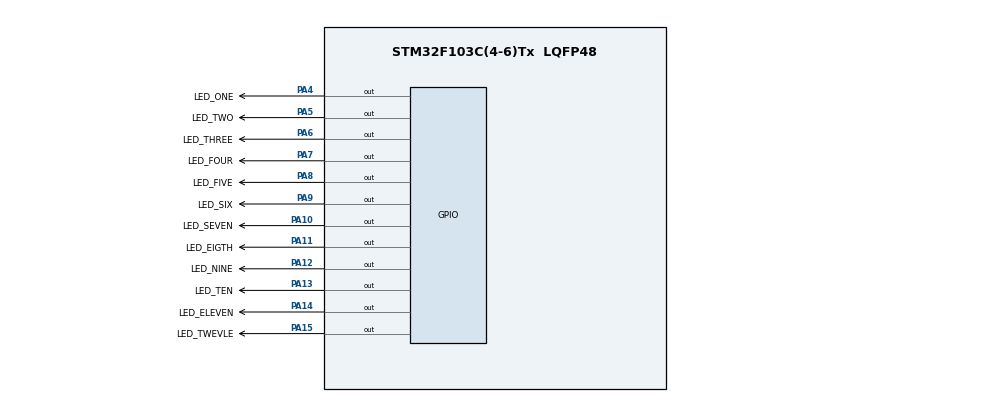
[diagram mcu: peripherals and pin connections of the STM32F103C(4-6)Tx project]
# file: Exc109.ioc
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Mcu.Family=STM32F1
Mcu.Name=STM32F103C(4-6)Tx
Mcu.Package=LQFP48
NVIC.PriorityGroup=NVIC_PRIORITYGROUP_4
PA10.GPIO_Label=LED_SEVEN
PA10.Signal=GPIO_Output
PA11.GPIO_Label=LED_EIGTH
PA11.Signal=GPIO_Output
PA12.GPIO_Label=LED_NINE
PA12.Signal=GPIO_Output
PA13.GPIO_Label=LED_TEN
PA13.Signal=GPIO_Output
PA14.GPIO_Label=LED_ELEVEN
PA14.Signal=GPIO_Output
PA15.GPIO_Label=LED_TWEVLE
PA15.Signal=GPIO_Output
PA4.GPIO_Label=LED_ONE
PA4.Signal=GPIO_Output
PA5.GPIO_Label=LED_TWO
PA5.Signal=GPIO_Output
PA6.GPIO_Label=LED_THREE
PA6.Signal=GPIO_Output
PA7.GPIO_Label=LED_FOUR
PA7.Signal=GPIO_Output
PA8.GPIO_Label=LED_FIVE
PA8.Signal=GPIO_Output
PA9.GPIO_Label=LED_SIX
PA9.Signal=GPIO_Output
ProjectManager.HeapSize=0x200
ProjectManager.StackSize=0x400
ProjectManager.TargetToolchain=STM32CubeIDE
RCC.APB1Freq_Value=8000000
RCC.APB2Freq_Value=8000000
board=custom

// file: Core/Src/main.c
/* USER CODE BEGIN Header */
/**
  ******************************************************************************
  * @file           : main.c
  * @brief          : Main program body
  ******************************************************************************
  * @attention
  *
  * Copyright (c) 2022 STMicroelectronics.
  * All rights reserved.
  *
  * This software is licensed under terms that can be found in the LICENSE file
  * in the root directory of this software component.
  * If no LICENSE file comes with this software, it is provided AS-IS.
  *
  ******************************************************************************
  */
/* USER CODE END Header */
#include "main.h"

/* USER CODE BEGIN Includes */
#define T_HRS  12

void clearAllClock(){
	//TODO
	HAL_GPIO_WritePin(LED_ONE_GPIO_Port, LED_ONE_Pin, SET);
	HAL_GPIO_WritePin(LED_TWO_GPIO_Port, LED_TWO_Pin, SET);
	HAL_GPIO_WritePin(LED_THREE_GPIO_Port, LED_THREE_Pin, SET);
	HAL_GPIO_WritePin(LED_FOUR_GPIO_Port, LED_FOUR_Pin, SET);
	HAL_GPIO_WritePin(LED_FIVE_GPIO_Port, LED_FIVE_Pin, SET);
	HAL_GPIO_WritePin(LED_SIX_GPIO_Port, LED_SIX_Pin, SET);
	HAL_GPIO_WritePin(LED_SEVEN_GPIO_Port, LED_SEVEN_Pin, SET);
	HAL_GPIO_WritePin(LED_EIGTH_GPIO_Port, LED_EIGTH_Pin, SET);
	HAL_GPIO_WritePin(LED_NINE_GPIO_Port, LED_NINE_Pin, SET);
	HAL_GPIO_WritePin(LED_TEN_GPIO_Port, LED_TEN_Pin, SET);
	HAL_GPIO_WritePin(LED_ELEVEN_GPIO_Port, LED_ELEVEN_Pin, SET);
	HAL_GPIO_WritePin(LED_TWEVLE_GPIO_Port, LED_TWEVLE_Pin, SET);
}

void setNumberOnClock(int number);
void clearNumberOnClock(int number);
/* USER CODE END PV */

/* USER CODE END Includes */

void SystemClock_Config(void);
static void MX_GPIO_Init(void);

int main(void)
{

  /* MCU Configuration--------------------------------------------------------*/

  /* Reset of all peripherals, Initializes the Flash interface and the Systick. */
  HAL_Init();

  /* Configure the system clock */
  SystemClock_Config();

  /* Initialize all configured peripherals */
  MX_GPIO_Init();

  /* Infinite loop */
  /* USER CODE BEGIN WHILE */
  	int counter = 1;
	while (1)
	{
	  /* USER CODE END WHILE */
		setNumberOnClock(counter);
		if (counter == 1) {
			clearAllClock();
		}
		if (counter == T_HRS) {
			counter = 1;
			continue;
		}
		if (counter < T_HRS) {
			counter += 1;
		}
		HAL_Delay(1000);
	}
}

void clearNumberOnClock(int number) {
	switch (number) {
	case 1:
		HAL_GPIO_WritePin(LED_ONE_GPIO_Port, LED_ONE_Pin, SET);
		break;
	case 2:
		HAL_GPIO_WritePin(LED_TWO_GPIO_Port, LED_TWO_Pin, SET);
		break;
	case 3:
		HAL_GPIO_WritePin(LED_THREE_GPIO_Port, LED_THREE_Pin, SET);
		break;
	case 4:
		HAL_GPIO_WritePin(LED_FOUR_GPIO_Port, LED_FOUR_Pin, SET);
		break;
	case 5:
		HAL_GPIO_WritePin(LED_FIVE_GPIO_Port, LED_FIVE_Pin, SET);
		break;
	case 6:
		HAL_GPIO_WritePin(LED_SIX_GPIO_Port, LED_SIX_Pin, SET);
		break;
	case 7:
		HAL_GPIO_WritePin(LED_SEVEN_GPIO_Port, LED_SEVEN_Pin, SET);
		break;
	case 8:
		HAL_GPIO_WritePin(LED_EIGTH_GPIO_Port, LED_EIGTH_Pin, SET);
		break;
	case 9:
		HAL_GPIO_WritePin(LED_NINE_GPIO_Port, LED_NINE_Pin, SET);
		break;
	case 10:
		HAL_GPIO_WritePin(LED_TEN_GPIO_Port, LED_TEN_Pin, SET);
		break;
	case 11:
		HAL_GPIO_WritePin(LED_ELEVEN_GPIO_Port, LED_ELEVEN_Pin, SET);
		break;
	case 12:
		HAL_GPIO_WritePin(LED_TWEVLE_GPIO_Port, LED_TWEVLE_Pin, SET);
		break;
	}
}

void setNumberOnClock(int number){
	clearAllClock();
	switch (number) {
	case 1:
		HAL_GPIO_WritePin(LED_ONE_GPIO_Port, LED_ONE_Pin, RESET);
		HAL_GPIO_WritePin(LED_TWO_GPIO_Port, LED_TWO_Pin, SET);
		HAL_GPIO_WritePin(LED_THREE_GPIO_Port, LED_THREE_Pin, SET);
		HAL_GPIO_WritePin(LED_FOUR_GPIO_Port, LED_FOUR_Pin, SET);
		HAL_GPIO_WritePin(LED_FIVE_GPIO_Port, LED_FIVE_Pin, SET);
		HAL_GPIO_WritePin(LED_SIX_GPIO_Port, LED_SIX_Pin, SET);
		HAL_GPIO_WritePin(LED_SEVEN_GPIO_Port, LED_SEVEN_Pin, SET);
		HAL_GPIO_WritePin(LED_EIGTH_GPIO_Port, LED_EIGTH_Pin, SET);
		HAL_GPIO_WritePin(LED_NINE_GPIO_Port, LED_NINE_Pin, SET);
		HAL_GPIO_WritePin(LED_TEN_GPIO_Port, LED_TEN_Pin, SET);
		HAL_GPIO_WritePin(LED_ELEVEN_GPIO_Port, LED_ELEVEN_Pin, SET);
		HAL_GPIO_WritePin(LED_TWEVLE_GPIO_Port, LED_TWEVLE_Pin, SET);
		break;
	case 2:
		HAL_GPIO_WritePin(LED_ONE_GPIO_Port, LED_ONE_Pin, SET);
		HAL_GPIO_WritePin(LED_TWO_GPIO_Port, LED_TWO_Pin, RESET);
		HAL_GPIO_WritePin(LED_THREE_GPIO_Port, LED_THREE_Pin, SET);
		HAL_GPIO_WritePin(LED_FOUR_GPIO_Port, LED_FOUR_Pin, SET);
		HAL_GPIO_WritePin(LED_FIVE_GPIO_Port, LED_FIVE_Pin, SET);
		HAL_GPIO_WritePin(LED_SIX_GPIO_Port, LED_SIX_Pin, SET);
		HAL_GPIO_WritePin(LED_SEVEN_GPIO_Port, LED_SEVEN_Pin, SET);
		HAL_GPIO_WritePin(LED_EIGTH_GPIO_Port, LED_EIGTH_Pin, SET);
		HAL_GPIO_WritePin(LED_NINE_GPIO_Port, LED_NINE_Pin, SET);
		HAL_GPIO_WritePin(LED_TEN_GPIO_Port, LED_TEN_Pin, SET);
		HAL_GPIO_WritePin(LED_ELEVEN_GPIO_Port, LED_ELEVEN_Pin, SET);
		HAL_GPIO_WritePin(LED_TWEVLE_GPIO_Port, LED_TWEVLE_Pin, SET);
		break;
	case 3:
		HAL_GPIO_WritePin(LED_ONE_GPIO_Port, LED_ONE_Pin, SET);
		HAL_GPIO_WritePin(LED_TWO_GPIO_Port, LED_TWO_Pin, SET);
		HAL_GPIO_WritePin(LED_THREE_GPIO_Port, LED_THREE_Pin, RESET);
		HAL_GPIO_WritePin(LED_FOUR_GPIO_Port, LED_FOUR_Pin, SET);
		HAL_GPIO_WritePin(LED_FIVE_GPIO_Port, LED_FIVE_Pin, SET);
		HAL_GPIO_WritePin(LED_SIX_GPIO_Port, LED_SIX_Pin, SET);
		HAL_GPIO_WritePin(LED_SEVEN_GPIO_Port, LED_SEVEN_Pin, SET);
		HAL_GPIO_WritePin(LED_EIGTH_GPIO_Port, LED_EIGTH_Pin, SET);
		HAL_GPIO_WritePin(LED_NINE_GPIO_Port, LED_NINE_Pin, SET);
		HAL_GPIO_WritePin(LED_TEN_GPIO_Port, LED_TEN_Pin, SET);
		HAL_GPIO_WritePin(LED_ELEVEN_GPIO_Port, LED_ELEVEN_Pin, SET);
		HAL_GPIO_WritePin(LED_TWEVLE_GPIO_Port, LED_TWEVLE_Pin, SET);
		break;
	case 4:
				HAL_GPIO_WritePin(LED_ONE_GPIO_Port, LED_ONE_Pin, SET);
				HAL_GPIO_WritePin(LED_TWO_GPIO_Port, LED_TWO_Pin, SET);
				HAL_GPIO_WritePin(LED_THREE_GPIO_Port, LED_THREE_Pin, SET);
				HAL_GPIO_WritePin(LED_FOUR_GPIO_Port, LED_FOUR_Pin, RESET);
				HAL_GPIO_WritePin(LED_FIVE_GPIO_Port, LED_FIVE_Pin, SET);
				HAL_GPIO_WritePin(LED_SIX_GPIO_Port, LED_SIX_Pin, SET);
				HAL_GPIO_WritePin(LED_SEVEN_GPIO_Port, LED_SEVEN_Pin, SET);
				HAL_GPIO_WritePin(LED_EIGTH_GPIO_Port, LED_EIGTH_Pin, SET);
				HAL_GPIO_WritePin(LED_NINE_GPIO_Port, LED_NINE_Pin, SET);
				HAL_GPIO_WritePin(LED_TEN_GPIO_Port, LED_TEN_Pin, SET);
				HAL_GPIO_WritePin(LED_ELEVEN_GPIO_Port, LED_ELEVEN_Pin, SET);
				HAL_GPIO_WritePin(LED_TWEVLE_GPIO_Port, LED_TWEVLE_Pin, SET);
				break;
	case 5:
				HAL_GPIO_WritePin(LED_ONE_GPIO_Port, LED_ONE_Pin, SET);
				HAL_GPIO_WritePin(LED_TWO_GPIO_Port, LED_TWO_Pin, SET);
				HAL_GPIO_WritePin(LED_THREE_GPIO_Port, LED_THREE_Pin, SET);
				HAL_GPIO_WritePin(LED_FOUR_GPIO_Port, LED_FOUR_Pin, SET);
				HAL_GPIO_WritePin(LED_FIVE_GPIO_Port, LED_FIVE_Pin, RESET);
				HAL_GPIO_WritePin(LED_SIX_GPIO_Port, LED_SIX_Pin, SET);
				HAL_GPIO_WritePin(LED_SEVEN_GPIO_Port, LED_SEVEN_Pin, SET);
				HAL_GPIO_WritePin(LED_EIGTH_GPIO_Port, LED_EIGTH_Pin, SET);
				HAL_GPIO_WritePin(LED_NINE_GPIO_Port, LED_NINE_Pin, SET);
				HAL_GPIO_WritePin(LED_TEN_GPIO_Port, LED_TEN_Pin, SET);
				HAL_GPIO_WritePin(LED_ELEVEN_GPIO_Port, LED_ELEVEN_Pin, SET);
				HAL_GPIO_WritePin(LED_TWEVLE_GPIO_Port, LED_TWEVLE_Pin, SET);
				break;
	case 6:
				HAL_GPIO_WritePin(LED_ONE_GPIO_Port, LED_ONE_Pin, SET);
				HAL_GPIO_WritePin(LED_TWO_GPIO_Port, LED_TWO_Pin, SET);
				HAL_GPIO_WritePin(LED_THREE_GPIO_Port, LED_THREE_Pin, SET);
				HAL_GPIO_WritePin(LED_FOUR_GPIO_Port, LED_FOUR_Pin, SET);
				HAL_GPIO_WritePin(LED_FIVE_GPIO_Port, LED_FIVE_Pin, SET);
				HAL_GPIO_WritePin(LED_SIX_GPIO_Port, LED_SIX_Pin, RESET);
				HAL_GPIO_WritePin(LED_SEVEN_GPIO_Port, LED_SEVEN_Pin, SET);
				HAL_GPIO_WritePin(LED_EIGTH_GPIO_Port, LED_EIGTH_Pin, SET);
				HAL_GPIO_WritePin(LED_NINE_GPIO_Port, LED_NINE_Pin, SET);
				HAL_GPIO_WritePin(LED_TEN_GPIO_Port, LED_TEN_Pin, SET);
				HAL_GPIO_WritePin(LED_ELEVEN_GPIO_Port, LED_ELEVEN_Pin, SET);
				HAL_GPIO_WritePin(LED_TWEVLE_GPIO_Port, LED_TWEVLE_Pin, SET);
				break;
	case 7:
				HAL_GPIO_WritePin(LED_ONE_GPIO_Port, LED_ONE_Pin, SET);
				HAL_GPIO_WritePin(LED_TWO_GPIO_Port, LED_TWO_Pin, SET);
				HAL_GPIO_WritePin(LED_THREE_GPIO_Port, LED_THREE_Pin, SET);
				HAL_GPIO_WritePin(LED_FOUR_GPIO_Port, LED_FOUR_Pin, SET);
				HAL_GPIO_WritePin(LED_FIVE_GPIO_Port, LED_FIVE_Pin, SET);
				HAL_GPIO_WritePin(LED_SIX_GPIO_Port, LED_SIX_Pin, SET);
				HAL_GPIO_WritePin(LED_SEVEN_GPIO_Port, LED_SEVEN_Pin, RESET);
				HAL_GPIO_WritePin(LED_EIGTH_GPIO_Port, LED_EIGTH_Pin, SET);
				HAL_GPIO_WritePin(LED_NINE_GPIO_Port, LED_NINE_Pin, SET);
				HAL_GPIO_WritePin(LED_TEN_GPIO_Port, LED_TEN_Pin, SET);
				HAL_GPIO_WritePin(LED_ELEVEN_GPIO_Port, LED_ELEVEN_Pin, SET);
				HAL_GPIO_WritePin(LED_TWEVLE_GPIO_Port, LED_TWEVLE_Pin, SET);
				break;
	case 8:
				HAL_GPIO_WritePin(LED_ONE_GPIO_Port, LED_ONE_Pin, SET);
				HAL_GPIO_WritePin(LED_TWO_GPIO_Port, LED_TWO_Pin, SET);
				HAL_GPIO_WritePin(LED_THREE_GPIO_Port, LED_THREE_Pin, SET);
				HAL_GPIO_WritePin(LED_FOUR_GPIO_Port, LED_FOUR_Pin, SET);
				HAL_GPIO_WritePin(LED_FIVE_GPIO_Port, LED_FIVE_Pin, SET);
				HAL_GPIO_WritePin(LED_SIX_GPIO_Port, LED_SIX_Pin, SET);
				HAL_GPIO_WritePin(LED_SEVEN_GPIO_Port, LED_SEVEN_Pin, SET);
				HAL_GPIO_WritePin(LED_EIGTH_GPIO_Port, LED_EIGTH_Pin, RESET);
				HAL_GPIO_WritePin(LED_NINE_GPIO_Port, LED_NINE_Pin, SET);
				HAL_GPIO_WritePin(LED_TEN_GPIO_Port, LED_TEN_Pin, SET);
				HAL_GPIO_WritePin(LED_ELEVEN_GPIO_Port, LED_ELEVEN_Pin, SET);
				HAL_GPIO_WritePin(LED_TWEVLE_GPIO_Port, LED_TWEVLE_Pin, SET);
				break;
	case 9:
				HAL_GPIO_WritePin(LED_ONE_GPIO_Port, LED_ONE_Pin, SET);
				HAL_GPIO_WritePin(LED_TWO_GPIO_Port, LED_TWO_Pin, SET);
				HAL_GPIO_WritePin(LED_THREE_GPIO_Port, LED_THREE_Pin, SET);
				HAL_GPIO_WritePin(LED_FOUR_GPIO_Port, LED_FOUR_Pin, SET);
				HAL_GPIO_WritePin(LED_FIVE_GPIO_Port, LED_FIVE_Pin, SET);
				HAL_GPIO_WritePin(LED_SIX_GPIO_Port, LED_SIX_Pin, SET);
				HAL_GPIO_WritePin(LED_SEVEN_GPIO_Port, LED_SEVEN_Pin, SET);
				HAL_GPIO_WritePin(LED_EIGTH_GPIO_Port, LED_EIGTH_Pin, SET);
				HAL_GPIO_WritePin(LED_NINE_GPIO_Port, LED_NINE_Pin, RESET);
				HAL_GPIO_WritePin(LED_TEN_GPIO_Port, LED_TEN_Pin, SET);
				HAL_GPIO_WritePin(LED_ELEVEN_GPIO_Port, LED_ELEVEN_Pin, SET);
				HAL_GPIO_WritePin(LED_TWEVLE_GPIO_Port, LED_TWEVLE_Pin, SET);
				break;
	case 10:
				HAL_GPIO_WritePin(LED_ONE_GPIO_Port, LED_ONE_Pin, SET);
				HAL_GPIO_WritePin(LED_TWO_GPIO_Port, LED_TWO_Pin, SET);
				HAL_GPIO_WritePin(LED_THREE_GPIO_Port, LED_THREE_Pin, SET);
				HAL_GPIO_WritePin(LED_FOUR_GPIO_Port, LED_FOUR_Pin, SET);
				HAL_GPIO_WritePin(LED_FIVE_GPIO_Port, LED_FIVE_Pin, SET);
				HAL_GPIO_WritePin(LED_SIX_GPIO_Port, LED_SIX_Pin, SET);
				HAL_GPIO_WritePin(LED_SEVEN_GPIO_Port, LED_SEVEN_Pin, SET);
				HAL_GPIO_WritePin(LED_EIGTH_GPIO_Port, LED_EIGTH_Pin, SET);
				HAL_GPIO_WritePin(LED_NINE_GPIO_Port, LED_NINE_Pin, SET);
				HAL_GPIO_WritePin(LED_TEN_GPIO_Port, LED_TEN_Pin, RESET);
				HAL_GPIO_WritePin(LED_ELEVEN_GPIO_Port, LED_ELEVEN_Pin, SET);
				HAL_GPIO_WritePin(LED_TWEVLE_GPIO_Port, LED_TWEVLE_Pin, SET);
				break;
	case 11:
				HAL_GPIO_WritePin(LED_ONE_GPIO_Port, LED_ONE_Pin, SET);
				HAL_GPIO_WritePin(LED_TWO_GPIO_Port, LED_TWO_Pin, SET);
				HAL_GPIO_WritePin(LED_THREE_GPIO_Port, LED_THREE_Pin, SET);
				HAL_GPIO_WritePin(LED_FOUR_GPIO_Port, LED_FOUR_Pin, SET);
				HAL_GPIO_WritePin(LED_FIVE_GPIO_Port, LED_FIVE_Pin, SET);
				HAL_GPIO_WritePin(LED_SIX_GPIO_Port, LED_SIX_Pin, SET);
				HAL_GPIO_WritePin(LED_SEVEN_GPIO_Port, LED_SEVEN_Pin, SET);
				HAL_GPIO_WritePin(LED_EIGTH_GPIO_Port, LED_EIGTH_Pin, SET);
				HAL_GPIO_WritePin(LED_NINE_GPIO_Port, LED_NINE_Pin, SET);
				HAL_GPIO_WritePin(LED_TEN_GPIO_Port, LED_TEN_Pin, SET);
				HAL_GPIO_WritePin(LED_ELEVEN_GPIO_Port, LED_ELEVEN_Pin, RESET);
				HAL_GPIO_WritePin(LED_TWEVLE_GPIO_Port, LED_TWEVLE_Pin, SET);
				break;
	case 12:
				HAL_GPIO_WritePin(LED_ONE_GPIO_Port, LED_ONE_Pin, SET);
				HAL_GPIO_WritePin(LED_TWO_GPIO_Port, LED_TWO_Pin, SET);
				HAL_GPIO_WritePin(LED_THREE_GPIO_Port, LED_THREE_Pin, SET);
				HAL_GPIO_WritePin(LED_FOUR_GPIO_Port, LED_FOUR_Pin, SET);
				HAL_GPIO_WritePin(LED_FIVE_GPIO_Port, LED_FIVE_Pin, SET);
				HAL_GPIO_WritePin(LED_SIX_GPIO_Port, LED_SIX_Pin, SET);
				HAL_GPIO_WritePin(LED_SEVEN_GPIO_Port, LED_SEVEN_Pin, SET);
				HAL_GPIO_WritePin(LED_EIGTH_GPIO_Port, LED_EIGTH_Pin, SET);
				HAL_GPIO_WritePin(LED_NINE_GPIO_Port, LED_NINE_Pin, SET);
				HAL_GPIO_WritePin(LED_TEN_GPIO_Port, LED_TEN_Pin, SET);
				HAL_GPIO_WritePin(LED_ELEVEN_GPIO_Port, LED_ELEVEN_Pin, SET);
				HAL_GPIO_WritePin(LED_TWEVLE_GPIO_Port, LED_TWEVLE_Pin, RESET);
				break;
	default:
		break;
	}
}

void SystemClock_Config(void)
{
  RCC_OscInitTypeDef RCC_OscInitStruct = {0};
  RCC_ClkInitTypeDef RCC_ClkInitStruct = {0};

  /** Initializes the RCC Oscillators according to the specified parameters
  * in the RCC_OscInitTypeDef structure.
  */
  RCC_OscInitStruct.OscillatorType = RCC_OSCILLATORTYPE_HSI;
  RCC_OscInitStruct.HSIState = RCC_HSI_ON;
  RCC_OscInitStruct.HSICalibrationValue = RCC_HSICALIBRATION_DEFAULT;
  RCC_OscInitStruct.PLL.PLLState = RCC_PLL_NONE;
  if (HAL_RCC_OscConfig(&RCC_OscInitStruct) != HAL_OK)
  {
    Error_Handler();
  }

  /** Initializes the CPU, AHB and APB buses clocks
  */
  RCC_ClkInitStruct.ClockType = RCC_CLOCKTYPE_HCLK|RCC_CLOCKTYPE_SYSCLK
                              |RCC_CLOCKTYPE_PCLK1|RCC_CLOCKTYPE_PCLK2;
  RCC_ClkInitStruct.SYSCLKSource = RCC_SYSCLKSOURCE_HSI;
  RCC_ClkInitStruct.AHBCLKDivider = RCC_SYSCLK_DIV1;
  RCC_ClkInitStruct.APB1CLKDivider = RCC_HCLK_DIV1;
  RCC_ClkInitStruct.APB2CLKDivider = RCC_HCLK_DIV1;

  if (HAL_RCC_ClockConfig(&RCC_ClkInitStruct, FLASH_LATENCY_0) != HAL_OK)
  {
    Error_Handler();
  }
}

static void MX_GPIO_Init(void)
{
  GPIO_InitTypeDef GPIO_InitStruct = {0};

  /* GPIO Ports Clock Enable */
  __HAL_RCC_GPIOA_CLK_ENABLE();

  /*Configure GPIO pin Output Level */
  HAL_GPIO_WritePin(GPIOA, LED_ONE_Pin|LED_TWO_Pin|LED_THREE_Pin|LED_FOUR_Pin
                          |LED_FIVE_Pin|LED_SIX_Pin|LED_SEVEN_Pin|LED_EIGTH_Pin
                          |LED_NINE_Pin|LED_TEN_Pin|LED_ELEVEN_Pin|LED_TWEVLE_Pin, GPIO_PIN_RESET);

  /*Configure GPIO pins : LED_ONE_Pin LED_TWO_Pin LED_THREE_Pin LED_FOUR_Pin
                           LED_FIVE_Pin LED_SIX_Pin LED_SEVEN_Pin LED_EIGTH_Pin
                           LED_NINE_Pin LED_TEN_Pin LED_ELEVEN_Pin LED_TWEVLE_Pin */
  GPIO_InitStruct.Pin = LED_ONE_Pin|LED_TWO_Pin|LED_THREE_Pin|LED_FOUR_Pin
                          |LED_FIVE_Pin|LED_SIX_Pin|LED_SEVEN_Pin|LED_EIGTH_Pin
                          |LED_NINE_Pin|LED_TEN_Pin|LED_ELEVEN_Pin|LED_TWEVLE_Pin;
  GPIO_InitStruct.Mode = GPIO_MODE_OUTPUT_PP;
  GPIO_InitStruct.Pull = GPIO_NOPULL;
  GPIO_InitStruct.Speed = GPIO_SPEED_FREQ_LOW;
  HAL_GPIO_Init(GPIOA, &GPIO_InitStruct);

}

void Error_Handler(void)
{
  __disable_irq();
  while (1)
  {
  }
}
